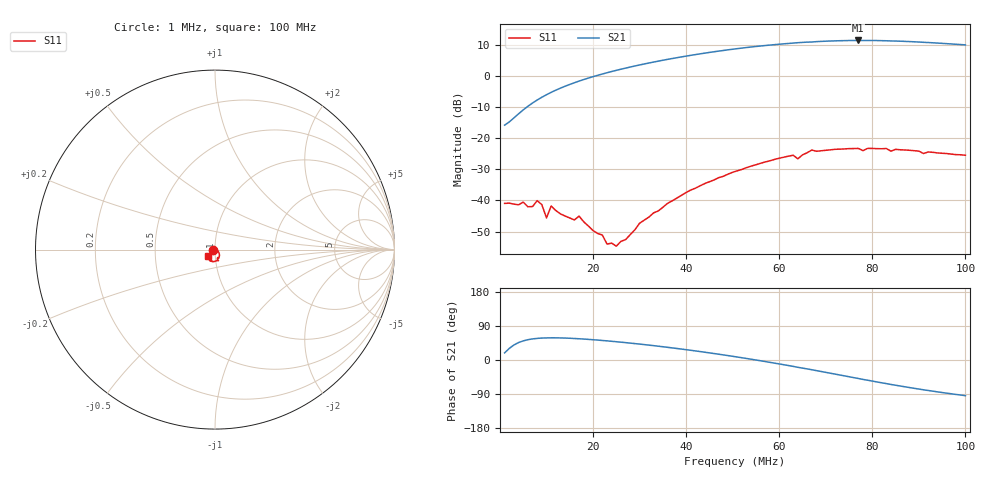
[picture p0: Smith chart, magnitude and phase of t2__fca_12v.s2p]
# HZ S RI R 50
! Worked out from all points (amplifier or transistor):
!   100 points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, 1 MHz to 100 MHz, reference 50 ohm
!   highest |S21| = 11.4 dB at 77 MHz (marker M1)
!   |S21| within 3 dB of that: 49.07 MHz to end of sweep
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1000001  -0.00894 0.000401  0.1535 0.0523  0 0  0 0
7000001  -0.00763 0.00229  0.2074 0.3037  0 0  0 0
8000001  -0.0096 0.00245  0.224 0.3451  0 0  0 0
9000001  -0.00707 0.00479  0.2421 0.3857  0 0  0 0
1e7  -0.0046 0.00247  0.2628 0.4253  0 0  0 0
1.1e7  -0.0068 0.00445  0.2849 0.4658  0 0  0 0
1.8e7  -0.00369 0.00262  0.4994 0.721  0 0  0 0
2.2e7  -0.00106 0.00257  0.6699 0.8424  0 0  0 0
2.3e7  -0.00064 0.00188  0.7175 0.8702  0 0  0 0
2.5e7  0.000455 0.00178  0.821 0.9194  0 0  0 0
3.4e7  0.00673 -0.000628  1.393 1.029  0 0  0 0
4.3e7  0.0155 -0.00739  2.1 0.8604  0 0  0 0
5.1e7  0.0228 -0.0194  2.727 0.3744  0 0  0 0
6e7  0.023 -0.0417  3.189 -0.5852  0 0  0 0
6.4e7  0.0146 -0.0443  3.238 -1.133  0 0  0 0
6.7e7  0.0197 -0.0615  3.17 -1.527  0 0  0 0
7.2e7  -0.0026 -0.0662  2.924 -2.22  0 0  0 0
7.7e7  -0.0173 -0.0663  2.455 -2.804  0 0  0 0
8.4e7  -0.0276 -0.0555  1.573 -3.302  0 0  0 0
8.8e7  -0.037 -0.0522  1.061 -3.415  0 0  0 0
9.2e7  -0.0381 -0.0464  0.5722 -3.404  0 0  0 0
1e8  -0.0368 -0.0384  -0.2268 -3.155  0 0  0 0
